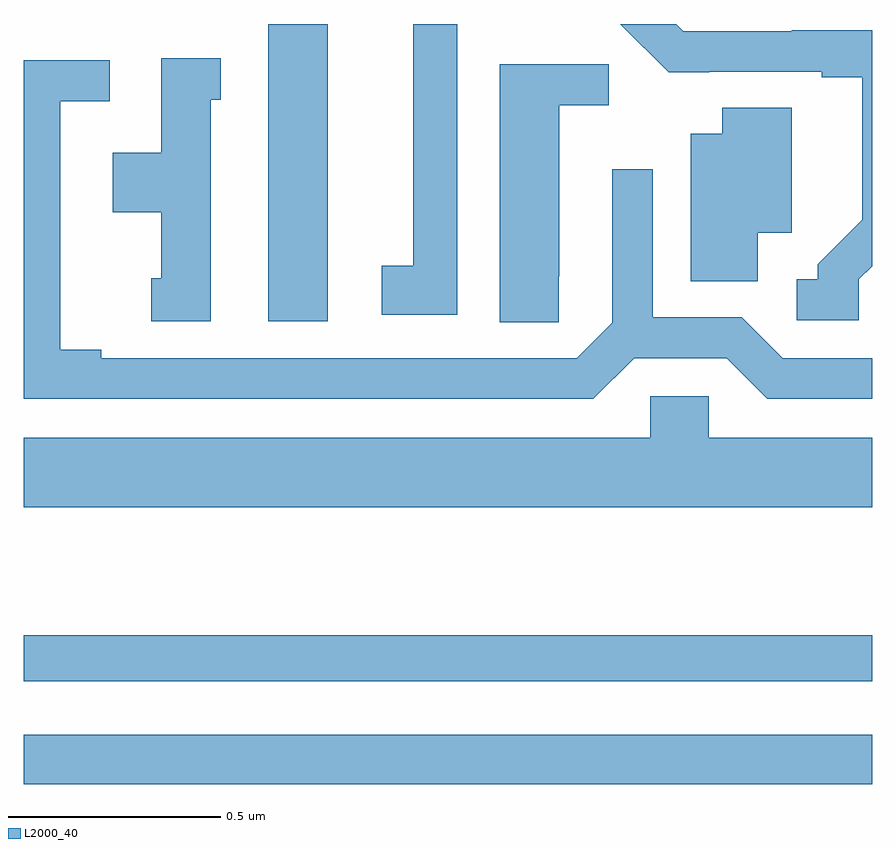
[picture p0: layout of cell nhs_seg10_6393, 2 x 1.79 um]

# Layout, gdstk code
import gdstk
lib = gdstk.Library(unit=1e-6, precision=1e-09)
def R(c, l, rs):  # rectangles x0, y0, x1, y1
    for r in rs: c.add(gdstk.rectangle(r[:2], r[2:], *l))
def P(c, l, *ps):  # polygons
    for p in ps: c.add(gdstk.Polygon(p, *l))
L2000_40 = (2000, 40)

nhs_seg10_6393 = lib.new_cell('nhs_seg10_6393')
R(nhs_seg10_6393, L2000_40, [(191,1255.708,193,1255.824), (191,1255.95,193,1256.059), (191.576,1256.799,191.716,1257.5)])
P(nhs_seg10_6393, L2000_40, [(192.022,1257.5),(191.918,1257.5),(191.918,1256.93),(191.844,1256.93),(191.844,1256.814),(192.022,1256.814)],
  [(192.969,1256.898),(193,1256.929),(193,1257.485),(192.811,1257.485),(192.811,1257.483),(192.555,1257.483),(192.538,1257.5),(192.406,1257.5),(192.52,1257.386),(192.616,1257.386),(192.616,1257.387),(192.881,1257.387),(192.881,1257.375),(192.977,1257.375),(192.977,1257.038),(192.872,1256.933),(192.872,1256.898),(192.822,1256.898),(192.822,1256.802),(192.969,1256.802)],
  [(191.44,1257.321),(191.464,1257.321),(191.464,1257.419),(191.324,1257.419),(191.324,1257.196),(191.21,1257.196),(191.21,1257.056),(191.324,1257.056),(191.324,1256.901),(191.3,1256.901),(191.3,1256.799),(191.44,1256.799)],
  [(192.439,1256.712),(192.657,1256.712),(192.753,1256.616),(193,1256.616),(193,1256.712),(192.789,1256.712),(192.693,1256.808),(192.483,1256.808),(192.483,1257.157),(192.387,1257.157),(192.387,1256.796),(192.303,1256.712),(191.182,1256.712),(191.182,1256.732),(191.086,1256.732),(191.086,1257.318),(191.203,1257.318),(191.203,1257.414),(191,1257.414),(191,1256.616),(192.343,1256.616)],
  [(192.261,1256.905),(192.262,1256.905),(192.262,1257.308),(192.379,1257.308),(192.379,1257.405),(192.122,1257.405),(192.122,1256.797),(192.261,1256.797)],
  [(192.73,1257.008),(192.811,1257.008),(192.811,1257.302),(192.647,1257.302),(192.647,1257.241),(192.572,1257.241),(192.572,1256.893),(192.73,1256.893)],
  [(193,1256.524),(192.615,1256.524),(192.615,1256.622),(192.477,1256.622),(192.477,1256.524),(191,1256.524),(191,1256.36),(193,1256.36)])

lib.write_gds('nhs_seg10_6393.gds')
